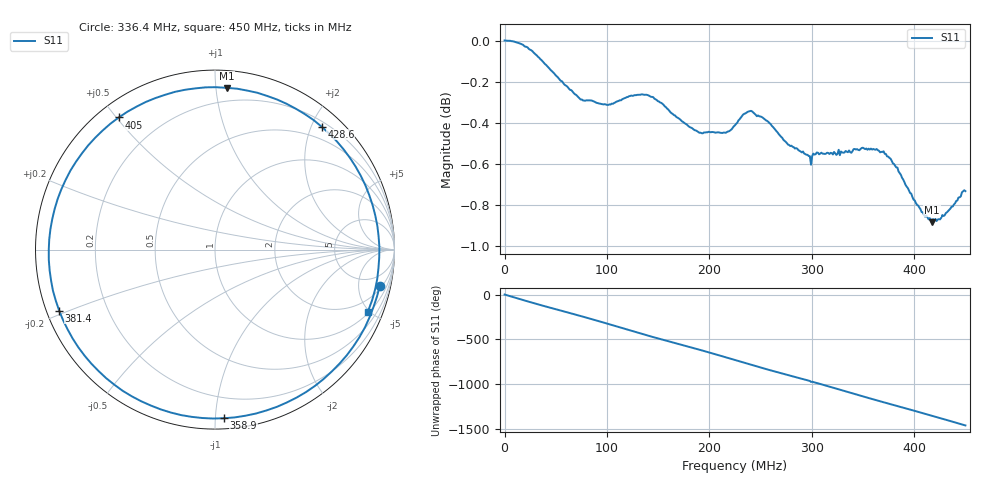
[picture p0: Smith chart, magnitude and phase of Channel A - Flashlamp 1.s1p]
! NanoVNA-App
! Date: 2026-10-05 11:14:53
! Start: 50kHz Stop: 450MHz Points: 401
! S-Parameter data: F S11
# Hz S RI R 50
!  Frequency  S11_Real  S11_Imag
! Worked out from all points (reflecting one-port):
!   401 points, 50 kHz to 450 MHz, reference 50 ohm
!   lowest |S11| = -0.9 dB at 417.4 MHz (marker M1), VSWR 19.71, Z = 5.45 + j53.4 ohm
!   phase of S11 starts at -0 deg and turns -1462 deg over the sweep
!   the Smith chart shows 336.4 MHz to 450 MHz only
!   S11 on the Smith chart (normalised r, x): 336.4 MHz: 2.46, -8.55; 358.9 MHz: 0.06, -1.05; 381.4 MHz: 0.04, -0.19; 405 MHz: 0.06, +0.51; 428.6 MHz: 0.28, +2.16; 450 MHz: 1.08, -4.86
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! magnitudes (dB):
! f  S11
! 50 kHz  0.0
! 24.8 MHz  0.0
! 56.29 MHz  -0.2
! 76.54 MHz  -0.3
! 101.3 MHz  -0.3
! 112.5 MHz  -0.3
! 124.9 MHz  -0.3
! 139.5 MHz  -0.3
! 168.8 MHz  -0.4
! 191.3 MHz  -0.4
! 214.9 MHz  -0.4
! 225 MHz  -0.4
! 234 MHz  -0.4
! 240.8 MHz  -0.3
! 257.6 MHz  -0.4
! 281.3 MHz  -0.5
! 298.1 MHz  -0.6
! 303.8 MHz  -0.6
! 336.4 MHz  -0.5
! 337.5 MHz  -0.5
! 358.9 MHz  -0.5
! 370.1 MHz  -0.5
! 381.4 MHz  -0.6
! 393.8 MHz  -0.7
! 405 MHz  -0.8
! 417.4 MHz  -0.9
! 428.6 MHz  -0.9
! 450 MHz  -0.7
